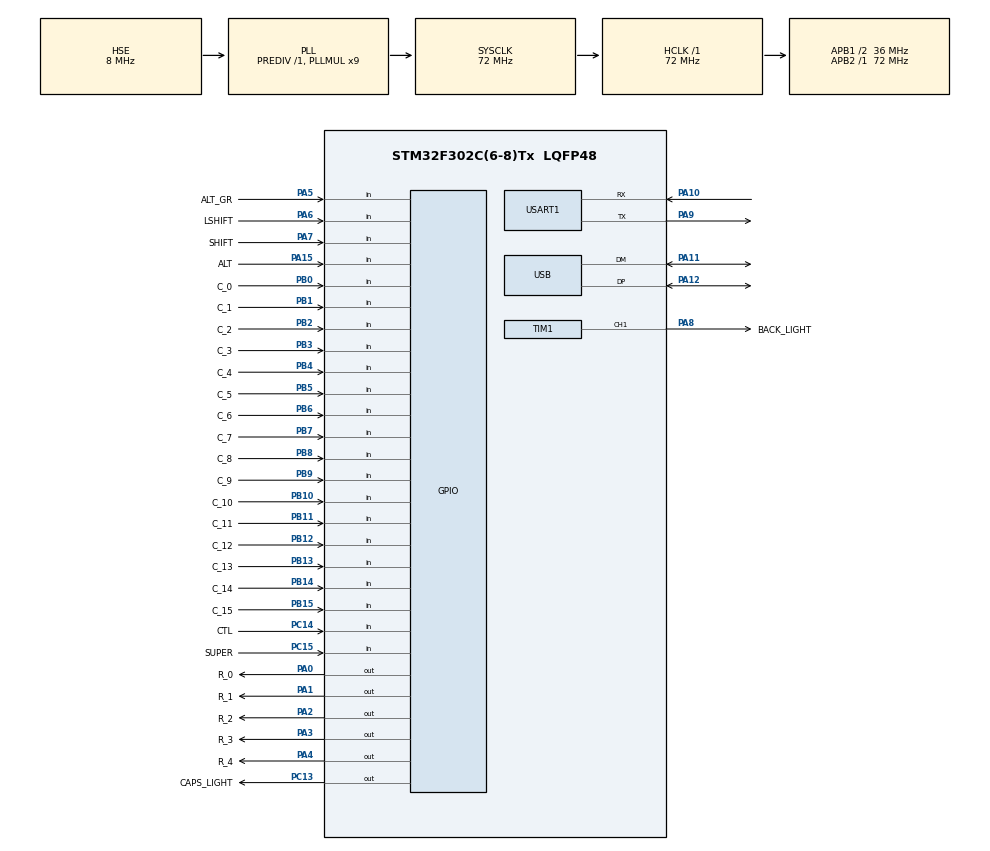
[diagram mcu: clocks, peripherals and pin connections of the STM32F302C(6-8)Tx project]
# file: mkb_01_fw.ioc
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Mcu.Family=STM32F3
Mcu.Name=STM32F302C(6-8)Tx
Mcu.Package=LQFP48
NVIC.PriorityGroup=NVIC_PRIORITYGROUP_4
NVIC.USB_LP_CAN_RX0_IRQn=true\:0\:0\:false\:false\:true\:false\:true
PA0.GPIO_Label=R_0
PA0.GPIO_ModeDefaultOutputPP=GPIO_MODE_OUTPUT_OD
PA0.GPIO_Speed=GPIO_SPEED_FREQ_HIGH
PA0.Signal=GPIO_Output
PA1.GPIO_Label=R_1
PA1.GPIO_ModeDefaultOutputPP=GPIO_MODE_OUTPUT_OD
PA1.GPIO_Speed=GPIO_SPEED_FREQ_HIGH
PA1.Signal=GPIO_Output
PA10.Mode=Asynchronous
PA10.Signal=USART1_RX
PA11.Mode=Device
PA11.Signal=USB_DM
PA12.Mode=Device
PA12.Signal=USB_DP
PA13.Mode=Serial_Wire
PA13.Signal=SYS_JTMS-SWDIO
PA14.Mode=Serial_Wire
PA14.Signal=SYS_JTCK-SWCLK
PA15.GPIO_Label=ALT
PA15.GPIO_PuPd=GPIO_PULLUP
PA15.Signal=GPIO_Input
PA2.GPIO_Label=R_2
PA2.GPIO_ModeDefaultOutputPP=GPIO_MODE_OUTPUT_OD
PA2.GPIO_Speed=GPIO_SPEED_FREQ_HIGH
PA2.Signal=GPIO_Output
PA3.GPIO_Label=R_3
PA3.GPIO_ModeDefaultOutputPP=GPIO_MODE_OUTPUT_OD
PA3.GPIO_Speed=GPIO_SPEED_FREQ_HIGH
PA3.Signal=GPIO_Output
PA4.GPIO_Label=R_4
PA4.GPIO_ModeDefaultOutputPP=GPIO_MODE_OUTPUT_OD
PA4.GPIO_Speed=GPIO_SPEED_FREQ_HIGH
PA4.Signal=GPIO_Output
PA5.GPIO_Label=ALT_GR
PA5.GPIO_PuPd=GPIO_PULLUP
PA5.Signal=GPIO_Input
PA6.GPIO_Label=LSHIFT
PA6.GPIO_PuPd=GPIO_PULLUP
PA6.Signal=GPIO_Input
PA7.GPIO_Label=SHIFT
PA7.GPIO_PuPd=GPIO_PULLUP
PA7.Signal=GPIO_Input
PA8.GPIO_Label=BACK_LIGHT
PA8.Signal=S_TIM1_CH1
PA9.Mode=Asynchronous
PA9.Signal=USART1_TX
PB0.GPIO_Label=C_0
PB0.Signal=GPIO_Input
PB1.GPIO_Label=C_1
PB1.Signal=GPIO_Input
PB10.GPIO_Label=C_10
PB10.Signal=GPIO_Input
PB11.GPIO_Label=C_11
PB11.Signal=GPIO_Input
PB12.GPIO_Label=C_12
PB12.Signal=GPIO_Input
PB13.GPIO_Label=C_13
PB13.Signal=GPIO_Input
PB14.GPIO_Label=C_14
PB14.Signal=GPIO_Input
PB15.GPIO_Label=C_15
PB15.Signal=GPIO_Input
PB2.GPIO_Label=C_2
PB2.Signal=GPIO_Input
PB3.GPIO_Label=C_3
PB3.Signal=GPIO_Input
PB4.GPIO_Label=C_4
PB4.Signal=GPIO_Input
PB5.GPIO_Label=C_5
PB5.Signal=GPIO_Input
PB6.GPIO_Label=C_6
PB6.Signal=GPIO_Input
PB7.GPIO_Label=C_7
PB7.Signal=GPIO_Input
PB8.GPIO_Label=C_8
PB8.Signal=GPIO_Input
PB9.GPIO_Label=C_9
PB9.Signal=GPIO_Input
PC13.GPIO_Label=CAPS_LIGHT
PC13.Signal=GPIO_Output
PC14\ -\ OSC32_IN.GPIO_Label=CTL
PC14\ -\ OSC32_IN.GPIO_PuPd=GPIO_PULLUP
PC14\ -\ OSC32_IN.Signal=GPIO_Input
PC15\ -\ OSC32_OUT.GPIO_Label=SUPER
PC15\ -\ OSC32_OUT.GPIO_PuPd=GPIO_PULLUP
PC15\ -\ OSC32_OUT.Signal=GPIO_Input
PF0-OSC_IN.Mode=HSE-External-Oscillator
PF0-OSC_IN.Signal=RCC_OSC_IN
PF1-OSC_OUT.Mode=HSE-External-Oscillator
PF1-OSC_OUT.Signal=RCC_OSC_OUT
ProjectManager.HeapSize=0x200
ProjectManager.StackSize=0x400
ProjectManager.TargetToolchain=SW4STM32
RCC.AHBFreq_Value=72000000
RCC.APB1CLKDivider=RCC_HCLK_DIV2
RCC.APB1Freq_Value=36000000
RCC.APB1TimFreq_Value=72000000
RCC.APB2Freq_Value=72000000
RCC.APB2TimFreq_Value=72000000
RCC.CortexFreq_Value=72000000
RCC.HCLKFreq_Value=72000000
RCC.HSE_VALUE=8000000
RCC.HSI_VALUE=8000000
RCC.LSE_VALUE=32768
RCC.PLLMUL=RCC_PLL_MUL9
RCC.PRESCALERUSB=RCC_USBCLKSOURCE_PLL_DIV1_5
RCC.SYSCLKFreq_VALUE=72000000
RCC.SYSCLKSourceVirtual=RCC_SYSCLKSOURCE_PLLCLK
RCC.USBFreq_Value=48000000
SH.S_TIM1_CH1.0=TIM1_CH1,PWM Generation1 CH1
TIM1.Channel-PWM\ Generation1\ CH1=TIM_CHANNEL_1
USART1.VirtualMode-Asynchronous=VM_ASYNC
USB_DEVICE.APP_RX_DATA_SIZE=256
USB_DEVICE.APP_TX_DATA_SIZE=256
USB_DEVICE.CLASS_NAME_FS=CDC
USB_DEVICE.USBD_DEBUG_LEVEL=3
USB_DEVICE.VirtualMode=Cdc
USB_DEVICE.VirtualModeFS=Cdc_FS
VP_TIM1_VS_ClockSourceINT.Mode=Internal
VP_USB_DEVICE_VS_USB_DEVICE_CDC_FS.Mode=CDC_FS
board=custom

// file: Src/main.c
/* USER CODE BEGIN Header */
/**
  ******************************************************************************
  * @file           : main.c
  * @brief          : Main program body
  ******************************************************************************
  * @attention
  *
  * <h2><center>&copy; Copyright (c) 2021 STMicroelectronics.
  * All rights reserved.</center></h2>
  *
  * This software component is licensed by ST under Ultimate Liberty license
  * SLA0044, the "License"; You may not use this file except in compliance with
  * the License. You may obtain a copy of the License at:
  *                             www.st.com/SLA0044
  *
  ******************************************************************************
  */
/* USER CODE END Header */
#include "main.h"
#include "usb_device.h"

/* USER CODE BEGIN Includes */
#include "usbd_cdc.h"
#include "usbd_cdc.h"
/* USER CODE END Includes */

TIM_HandleTypeDef htim1;

UART_HandleTypeDef huart1;

void SystemClock_Config(void);
static void MX_GPIO_Init(void);
static void MX_TIM1_Init(void);
static void MX_USART1_UART_Init(void);

/* USER CODE BEGIN 0 */

//extern USBD_HandleTypeDef hUsbDeviceFS;

#define CLICK_REPORT_SIZE 5
uint8_t click_report[CLICK_REPORT_SIZE] = {0};

extern UART_HandleTypeDef * get_uart_handle() {
	return &huart1;
}

uint8_t  USBD_CDC_TransmitPacket__(USBD_HandleTypeDef *pdev, uint8_t * buf, uint32_t len)
{

	/* Update the packet total length */
	      pdev->ep_in[CDC_IN_EP & 0xFU].total_length = len;

	  /* Transmit next packet */
	return USBD_LL_Transmit(pdev, CDC_IN_EP, buf, (uint16_t)len);

	/*
  USBD_CDC_HandleTypeDef   *hcdc = (USBD_CDC_HandleTypeDef *) pdev->pClassData;

  if (pdev->pClassData != NULL)
  {
    if (hcdc->TxState == 0U)
    {

      hcdc->TxState = 1U;

      pdev->ep_in[CDC_IN_EP & 0xFU].total_length = len;

      USBD_LL_Transmit(pdev, CDC_IN_EP, buf,
                       (uint16_t)len);

      return USBD_OK;
    }
    else
    {
      return USBD_BUSY;
    }
  }
  else
  {
    return USBD_FAIL;
  }
  */
}

/* USER CODE END 0 */

int main(void)
{

  /* MCU Configuration--------------------------------------------------------*/

  /* Reset of all peripherals, Initializes the Flash interface and the Systick. */
  HAL_Init();

  /* Configure the system clock */
  SystemClock_Config();

  /* Initialize all configured peripherals */
  MX_GPIO_Init();
  MX_TIM1_Init();
  MX_USART1_UART_Init();
  MX_USB_DEVICE_Init();
  /* USER CODE BEGIN 2 */

  //CDC_Init_FS();
  HAL_Delay(1000);
  USBD_HandleTypeDef * hUsbDeviceFS = get_usbd_handle();

  char msg[200] = "MKB_01 Start\n";

  uint32_t counter = 0;

  //HAL_Delay(2000);

  HAL_UART_Transmit(&huart1, (uint8_t *) msg, strlen(msg), 1000);

  uint16_t backoff = 0;

  /* USER CODE END 2 */

  /* Infinite loop */
  while (1)
  {

    /* USER CODE BEGIN 3 */
/*

	  if(HAL_GPIO_ReadPin(CTL_GPIO_Port, CTL_Pin) == GPIO_PIN_RESET){
	    //HAL_GPIO_WritePin(USER_LED_1_GPIO_Port, USER_LED_1_Pin, GPIO_PIN_SET);

	    click_report[0] = 1; // send button press
	    USBD_HID_SendReport(&hUsbDeviceFS, click_report, CLICK_REPORT_SIZE);
	    HAL_Delay(50);

	    sprintf(msg, "Klick %d\n", counter++);

	    HAL_UART_Transmit(&huart1, (uint8_t *) msg, strlen(msg), 1000);

	    click_report[0] = 0; // send button release
	    USBD_HID_SendReport(&hUsbDeviceFS, click_report, CLICK_REPORT_SIZE);

	    HAL_Delay(200);

	    //HAL_GPIO_WritePin(USER_LED_1_GPIO_Port, USER_LED_1_Pin, GPIO_PIN_RESET);
	  }
*/

	  if(backoff++ == 1000) {
		  sprintf(msg, "Alive %d\n", counter++);
		  HAL_UART_Transmit(&huart1, (uint8_t *) msg, strlen(msg), 1000);

		  /*
		  uint8_t * msg_ = (uint8_t *) msg;
		  USBD_CDC_SetTxBuffer(hUsbDeviceFS, msg_, strlen(msg));

		  if( USBD_CDC_TransmitPacket(hUsbDeviceFS) == USBD_FAIL) {
			  sprintf(msg, "USB fail\n");
			  HAL_UART_Transmit(&huart1, (uint8_t *) msg, strlen(msg), 1000);
		  }

		  if(USBD_CDC_TransmitPacket__(hUsbDeviceFS, (uint8_t *) msg, strlen(msg)) != 0) {
			  sprintf(msg, "USB fail\n");
			  HAL_UART_Transmit(&huart1, (uint8_t *) msg, strlen(msg), 1000);
		  }
		  */
		  if(CDC_Transmit_FS( (uint8_t *) msg, strlen(msg)) != 0) {
			  sprintf(msg, "USB fail\n");
			  HAL_UART_Transmit(&huart1, (uint8_t *) msg, strlen(msg), 1000);
		  }

		  backoff = 0;
	  }

	  HAL_Delay(1);

  }
  /* USER CODE END 3 */
}

void SystemClock_Config(void)
{
  RCC_OscInitTypeDef RCC_OscInitStruct = {0};
  RCC_ClkInitTypeDef RCC_ClkInitStruct = {0};
  RCC_PeriphCLKInitTypeDef PeriphClkInit = {0};

  /** Initializes the RCC Oscillators according to the specified parameters
  * in the RCC_OscInitTypeDef structure.
  */
  RCC_OscInitStruct.OscillatorType = RCC_OSCILLATORTYPE_HSE;
  RCC_OscInitStruct.HSEState = RCC_HSE_ON;
  RCC_OscInitStruct.HSEPredivValue = RCC_HSE_PREDIV_DIV1;
  RCC_OscInitStruct.HSIState = RCC_HSI_ON;
  RCC_OscInitStruct.PLL.PLLState = RCC_PLL_ON;
  RCC_OscInitStruct.PLL.PLLSource = RCC_PLLSOURCE_HSE;
  RCC_OscInitStruct.PLL.PLLMUL = RCC_PLL_MUL9;
  if (HAL_RCC_OscConfig(&RCC_OscInitStruct) != HAL_OK)
  {
    Error_Handler();
  }
  /** Initializes the CPU, AHB and APB buses clocks
  */
  RCC_ClkInitStruct.ClockType = RCC_CLOCKTYPE_HCLK|RCC_CLOCKTYPE_SYSCLK
                              |RCC_CLOCKTYPE_PCLK1|RCC_CLOCKTYPE_PCLK2;
  RCC_ClkInitStruct.SYSCLKSource = RCC_SYSCLKSOURCE_PLLCLK;
  RCC_ClkInitStruct.AHBCLKDivider = RCC_SYSCLK_DIV1;
  RCC_ClkInitStruct.APB1CLKDivider = RCC_HCLK_DIV2;
  RCC_ClkInitStruct.APB2CLKDivider = RCC_HCLK_DIV1;

  if (HAL_RCC_ClockConfig(&RCC_ClkInitStruct, FLASH_LATENCY_2) != HAL_OK)
  {
    Error_Handler();
  }
  PeriphClkInit.PeriphClockSelection = RCC_PERIPHCLK_USB|RCC_PERIPHCLK_USART1
                              |RCC_PERIPHCLK_TIM1;
  PeriphClkInit.Usart1ClockSelection = RCC_USART1CLKSOURCE_PCLK1;
  PeriphClkInit.USBClockSelection = RCC_USBCLKSOURCE_PLL_DIV1_5;
  PeriphClkInit.Tim1ClockSelection = RCC_TIM1CLK_HCLK;
  if (HAL_RCCEx_PeriphCLKConfig(&PeriphClkInit) != HAL_OK)
  {
    Error_Handler();
  }
}

static void MX_TIM1_Init(void)
{

  TIM_ClockConfigTypeDef sClockSourceConfig = {0};
  TIM_MasterConfigTypeDef sMasterConfig = {0};
  TIM_OC_InitTypeDef sConfigOC = {0};
  TIM_BreakDeadTimeConfigTypeDef sBreakDeadTimeConfig = {0};

  htim1.Instance = TIM1;
  htim1.Init.Prescaler = 0;
  htim1.Init.CounterMode = TIM_COUNTERMODE_UP;
  htim1.Init.Period = 65535;
  htim1.Init.ClockDivision = TIM_CLOCKDIVISION_DIV1;
  htim1.Init.RepetitionCounter = 0;
  htim1.Init.AutoReloadPreload = TIM_AUTORELOAD_PRELOAD_DISABLE;
  if (HAL_TIM_Base_Init(&htim1) != HAL_OK)
  {
    Error_Handler();
  }
  sClockSourceConfig.ClockSource = TIM_CLOCKSOURCE_INTERNAL;
  if (HAL_TIM_ConfigClockSource(&htim1, &sClockSourceConfig) != HAL_OK)
  {
    Error_Handler();
  }
  if (HAL_TIM_PWM_Init(&htim1) != HAL_OK)
  {
    Error_Handler();
  }
  sMasterConfig.MasterOutputTrigger = TIM_TRGO_RESET;
  sMasterConfig.MasterOutputTrigger2 = TIM_TRGO2_RESET;
  sMasterConfig.MasterSlaveMode = TIM_MASTERSLAVEMODE_DISABLE;
  if (HAL_TIMEx_MasterConfigSynchronization(&htim1, &sMasterConfig) != HAL_OK)
  {
    Error_Handler();
  }
  sConfigOC.OCMode = TIM_OCMODE_PWM1;
  sConfigOC.Pulse = 0;
  sConfigOC.OCPolarity = TIM_OCPOLARITY_HIGH;
  sConfigOC.OCNPolarity = TIM_OCNPOLARITY_HIGH;
  sConfigOC.OCFastMode = TIM_OCFAST_DISABLE;
  sConfigOC.OCIdleState = TIM_OCIDLESTATE_RESET;
  sConfigOC.OCNIdleState = TIM_OCNIDLESTATE_RESET;
  if (HAL_TIM_PWM_ConfigChannel(&htim1, &sConfigOC, TIM_CHANNEL_1) != HAL_OK)
  {
    Error_Handler();
  }
  sBreakDeadTimeConfig.OffStateRunMode = TIM_OSSR_DISABLE;
  sBreakDeadTimeConfig.OffStateIDLEMode = TIM_OSSI_DISABLE;
  sBreakDeadTimeConfig.LockLevel = TIM_LOCKLEVEL_OFF;
  sBreakDeadTimeConfig.DeadTime = 0;
  sBreakDeadTimeConfig.BreakState = TIM_BREAK_DISABLE;
  sBreakDeadTimeConfig.BreakPolarity = TIM_BREAKPOLARITY_HIGH;
  sBreakDeadTimeConfig.BreakFilter = 0;
  sBreakDeadTimeConfig.Break2State = TIM_BREAK2_DISABLE;
  sBreakDeadTimeConfig.Break2Polarity = TIM_BREAK2POLARITY_HIGH;
  sBreakDeadTimeConfig.Break2Filter = 0;
  sBreakDeadTimeConfig.AutomaticOutput = TIM_AUTOMATICOUTPUT_DISABLE;
  if (HAL_TIMEx_ConfigBreakDeadTime(&htim1, &sBreakDeadTimeConfig) != HAL_OK)
  {
    Error_Handler();
  }
  HAL_TIM_MspPostInit(&htim1);

}

static void MX_USART1_UART_Init(void)
{

  huart1.Instance = USART1;
  huart1.Init.BaudRate = 38400;
  huart1.Init.WordLength = UART_WORDLENGTH_8B;
  huart1.Init.StopBits = UART_STOPBITS_1;
  huart1.Init.Parity = UART_PARITY_NONE;
  huart1.Init.Mode = UART_MODE_TX_RX;
  huart1.Init.HwFlowCtl = UART_HWCONTROL_NONE;
  huart1.Init.OverSampling = UART_OVERSAMPLING_16;
  huart1.Init.OneBitSampling = UART_ONE_BIT_SAMPLE_DISABLE;
  huart1.AdvancedInit.AdvFeatureInit = UART_ADVFEATURE_NO_INIT;
  if (HAL_UART_Init(&huart1) != HAL_OK)
  {
    Error_Handler();
  }

}

static void MX_GPIO_Init(void)
{
  GPIO_InitTypeDef GPIO_InitStruct = {0};

  /* GPIO Ports Clock Enable */
  __HAL_RCC_GPIOC_CLK_ENABLE();
  __HAL_RCC_GPIOF_CLK_ENABLE();
  __HAL_RCC_GPIOA_CLK_ENABLE();
  __HAL_RCC_GPIOB_CLK_ENABLE();

  /*Configure GPIO pin Output Level */
  HAL_GPIO_WritePin(CAPS_LIGHT_GPIO_Port, CAPS_LIGHT_Pin, GPIO_PIN_RESET);

  /*Configure GPIO pin Output Level */
  HAL_GPIO_WritePin(GPIOA, R_0_Pin|R_1_Pin|R_2_Pin|R_3_Pin
                          |R_4_Pin, GPIO_PIN_RESET);

  /*Configure GPIO pin : CAPS_LIGHT_Pin */
  GPIO_InitStruct.Pin = CAPS_LIGHT_Pin;
  GPIO_InitStruct.Mode = GPIO_MODE_OUTPUT_PP;
  GPIO_InitStruct.Pull = GPIO_NOPULL;
  GPIO_InitStruct.Speed = GPIO_SPEED_FREQ_LOW;
  HAL_GPIO_Init(CAPS_LIGHT_GPIO_Port, &GPIO_InitStruct);

  /*Configure GPIO pins : CTL_Pin SUPER_Pin */
  GPIO_InitStruct.Pin = CTL_Pin|SUPER_Pin;
  GPIO_InitStruct.Mode = GPIO_MODE_INPUT;
  GPIO_InitStruct.Pull = GPIO_PULLUP;
  HAL_GPIO_Init(GPIOC, &GPIO_InitStruct);

  /*Configure GPIO pins : R_0_Pin R_1_Pin R_2_Pin R_3_Pin
                           R_4_Pin */
  GPIO_InitStruct.Pin = R_0_Pin|R_1_Pin|R_2_Pin|R_3_Pin
                          |R_4_Pin;
  GPIO_InitStruct.Mode = GPIO_MODE_OUTPUT_OD;
  GPIO_InitStruct.Pull = GPIO_NOPULL;
  GPIO_InitStruct.Speed = GPIO_SPEED_FREQ_HIGH;
  HAL_GPIO_Init(GPIOA, &GPIO_InitStruct);

  /*Configure GPIO pins : ALT_GR_Pin LSHIFT_Pin SHIFT_Pin ALT_Pin */
  GPIO_InitStruct.Pin = ALT_GR_Pin|LSHIFT_Pin|SHIFT_Pin|ALT_Pin;
  GPIO_InitStruct.Mode = GPIO_MODE_INPUT;
  GPIO_InitStruct.Pull = GPIO_PULLUP;
  HAL_GPIO_Init(GPIOA, &GPIO_InitStruct);

  /*Configure GPIO pins : C_0_Pin C_1_Pin C_2_Pin C_10_Pin
                           C_11_Pin C_12_Pin C_13_Pin C_14_Pin
                           C_15_Pin C_3_Pin C_4_Pin C_5_Pin
                           C_6_Pin C_7_Pin C_8_Pin C_9_Pin */
  GPIO_InitStruct.Pin = C_0_Pin|C_1_Pin|C_2_Pin|C_10_Pin
                          |C_11_Pin|C_12_Pin|C_13_Pin|C_14_Pin
                          |C_15_Pin|C_3_Pin|C_4_Pin|C_5_Pin
                          |C_6_Pin|C_7_Pin|C_8_Pin|C_9_Pin;
  GPIO_InitStruct.Mode = GPIO_MODE_INPUT;
  GPIO_InitStruct.Pull = GPIO_NOPULL;
  HAL_GPIO_Init(GPIOB, &GPIO_InitStruct);

}

void Error_Handler(void)
{
  /* USER CODE BEGIN Error_Handler_Debug */
  /* User can add his own implementation to report the HAL error return state */
  __disable_irq();
  char msg[200] = "ERROR\n";
  while (1)
  {
	  HAL_UART_Transmit(&huart1, (uint8_t *) msg, strlen(msg), 1000);
	  HAL_Delay(500);

  }
  /* USER CODE END Error_Handler_Debug */
}

/************************ (C) COPYRIGHT STMicroelectronics *****END OF FILE****/
